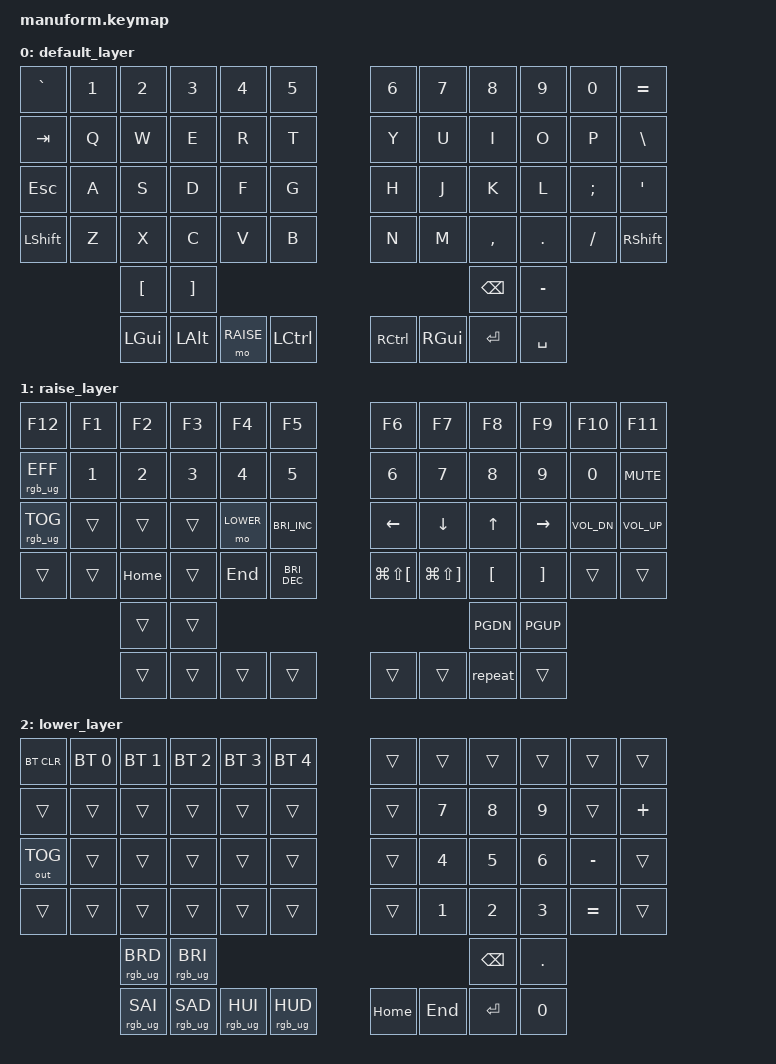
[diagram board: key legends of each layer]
/*
 * Copyright (c) 2020 The ZMK Contributors
 *
 * SPDX-License-Identifier: MIT
 */

#include <behaviors.dtsi>
#include <dt-bindings/zmk/keys.h>
#include <dt-bindings/zmk/bt.h>
#include <dt-bindings/zmk/ext_power.h>
#include <dt-bindings/zmk/rgb.h>
#include <dt-bindings/zmk/outputs.h>

#define DEFAULT 0
#define RAISE   1
#define LOWER   2
#define MOUSE   3

/ {
    macros {
        repeat: repeat {
            label = "repeat";
            compatible = "zmk,behavior-macro";
            #binding-cells = <0>;
            bindings
                = <&kp UP>
                , <&kp ENTER>
                ;
        };
    };
};

/ {
	keymap {
		compatible = "zmk,keymap";

		default_layer {
// ------------------------------------------                   -----------------------------------------------
// |   `   |  1  |  2  |  3   |  4   |  5   |                   |  6   |  7    |  8    |  9   |   0   |   =   |
// |  TAB  |  Q  |  W  |  E   |  R   |  T   |                   |  Y   |  U    |  I    |  O   |   P   |   \   |
// |  ESC  |  A  |  S  |  D   |  F   |  G   |                   |  H   |  J    |  K    |  L   |   ;   |   '   |
// | LSHFT |  Z  |  X  |  C   |  V   |  B   |                   |  N   |  M    |  ,    |  .   |   /   | RSHFT |
//               | LBKT| RBKT |                                                | BSPC  |  -   |
//                     | LGUI | LALT | RAISE| LCTRL |   | RCTRL | RGUI | ENTER | SPACE |
			bindings = <
&kp GRAVE &kp N1 &kp N2   &kp N3   &kp N4     &kp N5              &kp N6     &kp N7    &kp N8    &kp N9  &kp N0   &kp EQUAL
&kp TAB   &kp Q  &kp W    &kp E    &kp R      &kp T               &kp Y      &kp U     &kp I     &kp O   &kp P    &kp BSLH
&kp ESC   &kp A  &kp S    &kp D    &kp F      &kp G               &kp H      &kp J     &kp K     &kp L   &kp SEMI &kp SQT
&kp LSHFT &kp Z  &kp X    &kp C    &kp V      &kp B               &kp N      &kp M     &kp COMMA &kp DOT &kp FSLH &kp RSHFT
                 &kp LBKT &kp RBKT                                                     &kp BSPC  &kp MINUS
                 &kp LGUI &kp LALT &mo RAISE  &kp LCTRL           &kp RCTRL  &kp RGUI  &kp ENTER &kp SPACE
			>;
		};

		raise_layer {
// -------------------------------------------                   -------------------------------------------
// |  F12 |  F1  |  F2  |  F3  |  F4  |  F5  |                   |  F6  |  F7  |  F8  |  F9  |  F10 |  F11 |
// |      |   1  |   2  |   3  |   4  |   5  |                   |   6  |   7  |   8  |   9  |   0  | MUTE |
// |      |      |      | MOUSE| LOWER| BRGT+|                   | LEFT | DOWN |  UP  | RIGHT| VOLDN| VOLUP|
// |      |      | HOME |      |  END | BRGT-|                   | TAB- | TAB+ |   [  |   ]  |      |      |
//                      |      |      |                                 | PGDN | PGUP |
//               |      |      |      |      |                   |      |      |REPEAT|      |
			bindings = <
&kp F12          &kp F1    &kp F2    &kp F3  &kp F4    &kp F5                  &kp F6            &kp F7            &kp F8    &kp F9     &kp F10       &kp F11
&rgb_ug RGB_EFF  &kp N1    &kp N2    &kp N3  &kp N4    &kp N5                  &kp N6            &kp N7            &kp N8    &kp N9     &kp N0        &kp K_MUTE
&rgb_ug RGB_TOG  &trans    &trans    &trans  &mo LOWER &kp C_BRI_INC           &kp LEFT          &kp DOWN          &kp UP    &kp RIGHT  &kp C_VOL_DN  &kp C_VOL_UP
&trans           &trans    &kp HOME  &trans  &kp END   &kp C_BRI_DEC           &kp LG(LS(LBKT))  &kp LG(LS(RBKT))  &kp LBKT  &kp RBKT   &trans        &trans
                 &trans    &trans                                                                &kp PGDN          &kp PGUP
                           &trans    &trans  &trans    &trans                  &trans            &trans            &repeat   &trans
			>;
		};

		lower_layer {
// ----------------------------------------------------------------------------------------------------------------------
// OUT OF DATE
// | BT_CLR |     |     |     |     |     |                     | BT_SEL0 | BT_SEL1 | BT_SEL2 | BT_SEL3 | BT_SEL4 | BT_CLR |
// |     |     |     |     |     |     |                     |         |    7    |    8    |    9    |         |  PLUS  |
// |     |     |     |     |     |     |                     |         |    4    |    5    |    6    |  MINUS  |        |
// |     |     |     |     |     |     |                     |         |    1    |    2    |    3    |  EQUAL  |        |
//                   |     |     |                                     |  BKSP   |   DOT   |         |         |        |
//             |     |     |     |     |                     | HOME    |  END    |  ENTER  |    0    |
			bindings = <
&bt BT_CLR    &bt BT_SEL 0  &bt BT_SEL 1     &bt BT_SEL 2     &bt BT_SEL 3     &bt BT_SEL 4                     &trans       &trans         &trans     &trans  &trans     &trans
&trans        &trans        &trans           &trans           &trans           &trans                           &trans       &kp N7         &kp N8     &kp N9  &trans     &kp PLUS
&out OUT_TOG  &trans        &trans           &trans           &trans           &trans                           &trans       &kp N4         &kp N5     &kp N6  &kp MINUS  &trans
&trans        &trans        &trans           &trans           &trans           &trans                           &trans       &kp N1         &kp N2     &kp N3  &kp EQUAL  &trans
                                             &rgb_ug RGB_BRD  &rgb_ug RGB_BRI                                                &kp BACKSPACE  &kp DOT
                            &rgb_ug RGB_SAI  &rgb_ug RGB_SAD  &rgb_ug RGB_HUI  &rgb_ug RGB_HUD                  &kp HOME     &kp END        &kp ENTER  &kp N0
			>;
		};

// 		mouse_layer {
// // ------------------------------------------------------------------------------------------------------------
// // |       |     |     |      |      |      |                   |      |       |       |      |       |       |
// // |   `   |  1  |  2  |  3   |  4   |  5   |                   |  6   |   7   |   8   |  9   |   0   |       |
// // |   F1  |  F2 |  F3 |  F4  |  F5  |  F6  |                   |      |   <-  |   v   |  ^   |  ->   |       |
// // |   F7  |  F8 |  F9 |  F10 |  F11 |  F12 |        |  |       |  +   |   -   |   =   |  [   |   ]   |   \   |
// //                     |      |      |      |        |  |       |      |       |       |
// 			bindings = <
// &trans    &trans &trans &trans  &trans  &trans                       &trans      &trans    &trans    &trans   &trans    &trans
// &kp GRAVE &kp N1 &kp N2 &kp N3  &kp N4  &kp N5                       &kp N6      &kp N7    &kp N8    &kp N9   &kp N0    &trans
// &kp F1    &kp F2 &kp F3 &kp F4  &kp F5  &kp F6                       &trans      &kp LEFT  &kp DOWN  &kp UP   &kp RIGHT &trans
// &kp F7    &kp F8 &kp F9 &kp F10 &kp F11 &kp F12   &trans   &trans    &kp KP_PLUS &kp MINUS &kp EQUAL &kp LBKT &kp RBKT  &kp BSLH
//                         &trans  &trans  &trans    &trans   &trans    &trans      &trans    &trans
// 			>;
// 		};
	};
};
